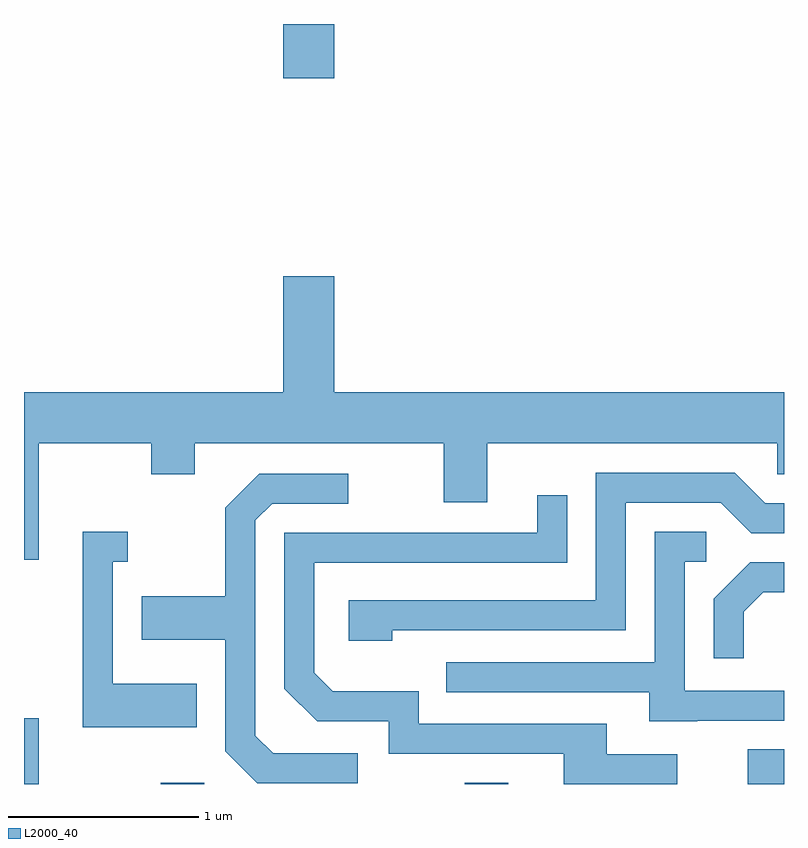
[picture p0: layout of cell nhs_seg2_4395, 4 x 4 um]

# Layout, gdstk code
import gdstk
lib = gdstk.Library(unit=1e-6, precision=1e-09)
def R(c, l, rs):  # rectangles x0, y0, x1, y1
    for r in rs: c.add(gdstk.rectangle(r[:2], r[2:], *l))
def P(c, l, *ps):  # polygons
    for p in ps: c.add(gdstk.Polygon(p, *l))
L2000_40 = (2000, 40)

nhs_seg2_4395 = lib.new_cell('nhs_seg2_4395')
R(nhs_seg2_4395, L2000_40, [(313.611,1099.802,313.689,1100.149), (314.331,1099.802,314.559,1099.809), (315.931,1099.802,316.159,1099.809), (317.421,1099.802,317.611,1099.984), (314.976,1103.516,315.244,1103.802)])
P(nhs_seg2_4395, L2000_40, [(313.689,1101.596),(314.281,1101.596),(314.281,1101.431),(314.509,1101.431),(314.509,1101.596),(315.821,1101.596),(315.821,1101.286),(316.049,1101.286),(316.049,1101.596),(317.576,1101.596),(317.576,1101.431),(317.611,1101.431),(317.611,1101.864),(315.244,1101.864),(315.244,1102.474),(314.976,1102.474),(314.976,1101.864),(313.611,1101.864),(313.611,1100.981),(313.689,1100.981)],
  [(315.549,1100.611),(316.779,1100.611),(316.779,1101.281),(317.279,1101.281),(317.439,1101.121),(317.611,1101.121),(317.611,1101.279),(317.512,1101.279),(317.352,1101.439),(316.621,1101.439),(316.621,1100.769),(315.321,1100.769),(315.321,1100.556),(315.549,1100.556)],
  [(315.368,1099.964),(314.922,1099.964),(314.829,1100.057),(314.829,1101.189),(314.917,1101.276),(315.318,1101.276),(315.318,1101.434),(314.849,1101.434),(314.671,1101.257),(314.671,1100.789),(314.231,1100.789),(314.231,1100.561),(314.671,1100.561),(314.671,1099.974),(314.839,1099.806),(315.368,1099.806)],
  [(317.048,1099.959),(316.679,1099.959),(316.679,1100.119),(315.689,1100.119),(315.689,1100.289),(315.237,1100.289),(315.139,1100.387),(315.139,1100.966),(316.469,1100.966),(316.469,1101.323),(316.311,1101.323),(316.311,1101.124),(314.981,1101.124),(314.981,1100.304),(315.154,1100.131),(315.531,1100.131),(315.531,1099.961),(316.451,1099.961),(316.451,1099.802),(317.048,1099.802)],
  [(314.519,1100.329),(314.079,1100.329),(314.079,1100.971),(314.158,1100.971),(314.158,1101.129),(313.921,1101.129),(313.921,1100.101),(314.519,1100.101)],
  [(317.155,1100.136),(317.611,1100.136),(317.611,1100.294),(317.089,1100.294),(317.089,1100.971),(317.203,1100.971),(317.203,1101.129),(316.931,1101.129),(316.931,1100.444),(315.833,1100.444),(315.833,1100.286),(316.901,1100.286),(316.901,1100.131),(317.155,1100.131)],
  [(317.399,1100.709),(317.502,1100.811),(317.611,1100.811),(317.611,1100.969),(317.434,1100.969),(317.241,1100.777),(317.241,1100.463),(317.399,1100.463)])

lib.write_gds('nhs_seg2_4395.gds')
